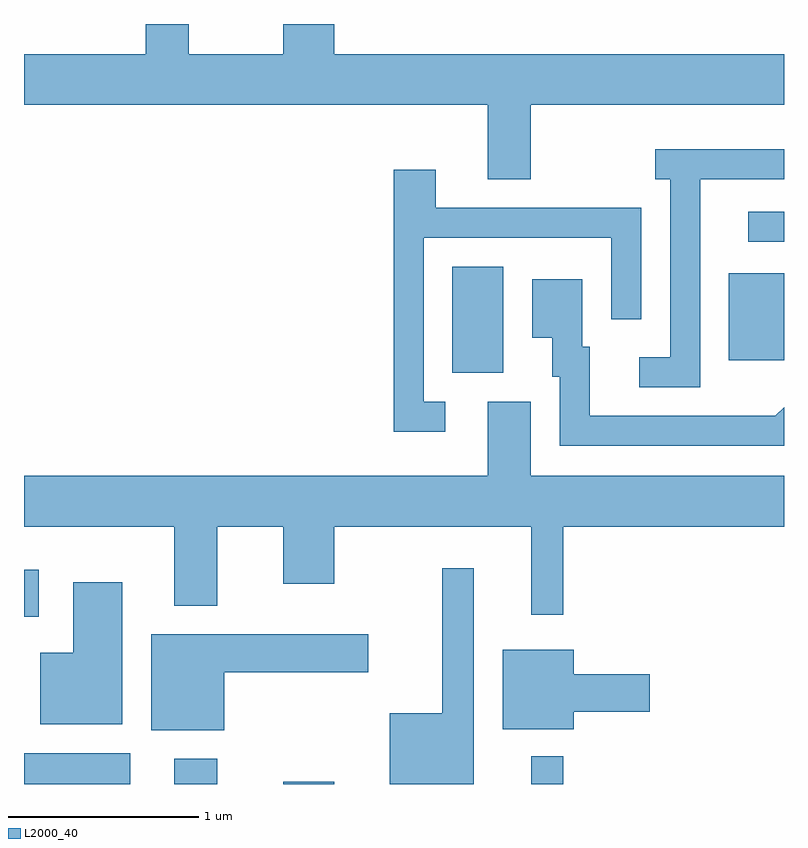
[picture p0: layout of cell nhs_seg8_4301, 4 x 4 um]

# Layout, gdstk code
import gdstk
lib = gdstk.Library(unit=1e-6, precision=1e-09)
def R(c, l, rs):  # rectangles x0, y0, x1, y1
    for r in rs: c.add(gdstk.rectangle(r[:2], r[2:], *l))
def P(c, l, *ps):  # polygons
    for p in ps: c.add(gdstk.Polygon(p, *l))
L2000_40 = (2000, 40)

nhs_seg8_4301 = lib.new_cell('nhs_seg8_4301')
R(nhs_seg8_4301, L2000_40, [(313.611,1888.342,314.169,1888.504), (314.401,1888.342,314.629,1888.474), (314.976,1888.342,315.244,1888.354), (316.281,1888.342,316.449,1888.488), (313.611,1889.221,313.689,1889.469), (315.866,1890.506,316.134,1891.064), (317.321,1890.571,317.611,1891.029), (317.423,1891.196,317.611,1891.354)])
P(nhs_seg8_4301, L2000_40, [(316.279,1891.916),(317.611,1891.916),(317.611,1892.184),(315.244,1892.184),(315.244,1892.342),(314.976,1892.342),(314.976,1892.184),(314.479,1892.184),(314.479,1892.342),(314.251,1892.342),(314.251,1892.184),(313.611,1892.184),(313.611,1891.916),(316.051,1891.916),(316.051,1891.526),(316.279,1891.526)],
  [(317.169,1891.526),(317.611,1891.526),(317.611,1891.684),(316.933,1891.684),(316.933,1891.526),(317.011,1891.526),(317.011,1890.589),(316.848,1890.589),(316.848,1890.431),(317.169,1890.431)],
  [(315.828,1890.354),(315.714,1890.354),(315.714,1891.216),(316.701,1891.216),(316.701,1890.788),(316.859,1890.788),(316.859,1891.374),(315.779,1891.374),(315.779,1891.574),(315.556,1891.574),(315.556,1890.196),(315.828,1890.196)],
  [(317.611,1890.326),(317.564,1890.279),(316.589,1890.279),(316.589,1890.644),(316.549,1890.644),(316.549,1890.999),(316.286,1890.999),(316.286,1890.691),(316.391,1890.691),(316.391,1890.486),(316.431,1890.486),(316.431,1890.121),(317.611,1890.121)],
  [(316.449,1889.696),(317.611,1889.696),(317.611,1889.964),(316.279,1889.964),(316.279,1890.354),(316.051,1890.354),(316.051,1889.964),(313.611,1889.964),(313.611,1889.696),(314.401,1889.696),(314.401,1889.281),(314.629,1889.281),(314.629,1889.696),(314.976,1889.696),(314.976,1889.396),(315.244,1889.396),(315.244,1889.696),(316.281,1889.696),(316.281,1889.233),(316.449,1889.233)],
  [(315.979,1889.478),(315.811,1889.478),(315.811,1888.714),(315.536,1888.714),(315.536,1888.342),(315.979,1888.342)],
  [(314.129,1889.404),(313.871,1889.404),(313.871,1889.034),(313.696,1889.034),(313.696,1888.656),(314.129,1888.656)],
  [(314.664,1888.931),(315.424,1888.931),(315.424,1889.129),(314.281,1889.129),(314.281,1888.626),(314.664,1888.626)],
  [(316.504,1888.721),(316.904,1888.721),(316.904,1888.919),(316.504,1888.919),(316.504,1889.049),(316.131,1889.049),(316.131,1888.631),(316.504,1888.631)])

lib.write_gds('nhs_seg8_4301.gds')
